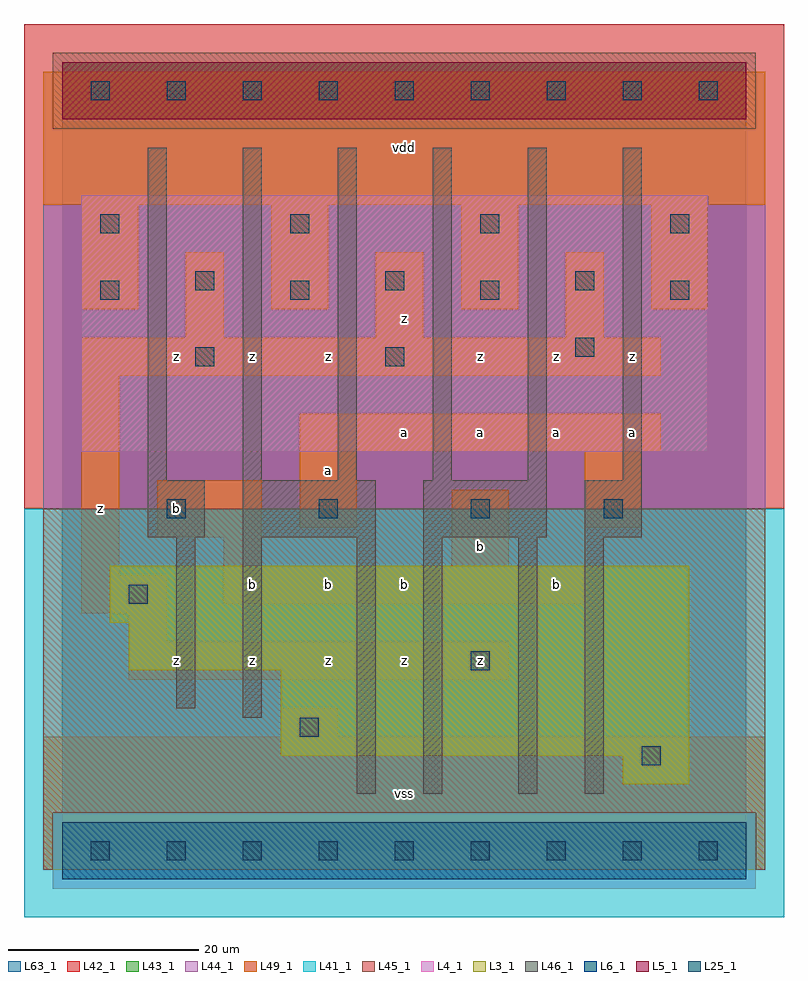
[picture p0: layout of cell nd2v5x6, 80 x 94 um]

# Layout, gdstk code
import gdstk
lib = gdstk.Library(unit=1e-6, precision=1e-09)
def R(c, l, rs):  # rectangles x0, y0, x1, y1
    for r in rs: c.add(gdstk.rectangle(r[:2], r[2:], *l))
def A(c, l, x, y, w, h, nx, ny, dx, dy):  # array of equal rectangles
    R(c, l, [(x+i*dx, y+j*dy, x+i*dx+w, y+j*dy+h) for i in range(nx) for j in range(ny)])
L3_1 = (3, 1)
L4_1 = (4, 1)
L5_1 = (5, 1)
L6_1 = (6, 1)
L25_1 = (25, 1)
L41_1 = (41, 1)
L42_1 = (42, 1)
L43_1 = (43, 1)
L44_1 = (44, 1)
L45_1 = (45, 1)
L46_1 = (46, 1)
L49_1 = (49, 1)
L63_1 = (63, 1)

nd2v5x6 = lib.new_cell('nd2v5x6')
R(nd2v5x6, L3_1, [(59,7,66,10), (23,10,66,19), (7,19,66,24), (5,24,66,30)])
R(nd2v5x6, L4_1, [(2,42,68,69)])
R(nd2v5x6, L5_1, [(0,77,72,83)])
R(nd2v5x6, L6_1, [(0,-3,72,3), (0,-3,72,3)])
A(nd2v5x6, L25_1, 3, -1, 2, 2, 9, 2, 8, 80)
A(nd2v5x6, L25_1, 11, 35, 2, 2, 3, 1, 16, 0)
A(nd2v5x6, L25_1, 4, 58, 2, 2, 4, 2, 20, 7)
A(nd2v5x6, L25_1, 14, 59, 2, 2, 3, 1, 20, 0)
R(nd2v5x6, L25_1, [(61,9,63,11), (25,12,27,14), (43,19,45,21), (7,26,9,28), (57,35,59,37), (14,51,16,53), (34,51,36,53), (54,52,56,54)])
R(nd2v5x6, L41_1, [(-4,-7,76,36)])
R(nd2v5x6, L42_1, [(-4,36,76,87)])
R(nd2v5x6, L43_1, [(0,-3,72,3), (59,7,66,10), (23,10,66,19), (7,19,66,24), (5,24,66,30), (2,42,68,69), (0,77,72,83)])
R(nd2v5x6, L44_1, [(-1,-4,73,4), (-2,36,74,76), (-2,76,-1,82), (73,76,74,82)])
R(nd2v5x6, L45_1, [(-2,-2,-1,4), (73,-2,74,4), (-2,4,74,36), (-1,76,73,84)])
A(nd2v5x6, L46_1, 9, 39, 2, 35, 6, 1, 10, 0)
R(nd2v5x6, L46_1, [(31,6,33,33), (38,6,40,33), (48,6,50,33), (55,6,57,33), (19,14,21,33), (12,15,14,33), (9,33,15,39), (19,33,33,39), (38,33,51,39), (55,33,61,39)])
A(nd2v5x6, L49_1, 2, 57, 6, 11, 4, 1, 20, 0)
R(nd2v5x6, L49_1, [(-2,-2,74,12), (23,12,29,15), (7,18,47,22), (7,22,11,25), (2,25,11,29), (17,26,55,30), (2,29,6,50), (17,30,21,33), (41,30,47,38), (10,33,21,39), (25,34,31,42), (55,34,61,42), (25,42,63,46), (2,50,63,54), (13,54,17,63), (33,54,38,63), (53,54,57,63), (-2,68,74,82)])
R(nd2v5x6, L63_1, [(0,0,72,80)])
nd2v5x6.add(gdstk.Label('z', (4,36), layer=49, texttype=1))
nd2v5x6.add(gdstk.Label('z', (12,20), layer=49, texttype=1))
nd2v5x6.add(gdstk.Label('z', (20,20), layer=49, texttype=1))
nd2v5x6.add(gdstk.Label('b', (20,28), layer=49, texttype=1))
nd2v5x6.add(gdstk.Label('b', (12,36), layer=49, texttype=1))
nd2v5x6.add(gdstk.Label('z', (20,52), layer=49, texttype=1))
nd2v5x6.add(gdstk.Label('z', (12,52), layer=49, texttype=1))
nd2v5x6.add(gdstk.Label('vss', (36,6), layer=49, texttype=1))
nd2v5x6.add(gdstk.Label('z', (28,20), layer=49, texttype=1))
nd2v5x6.add(gdstk.Label('b', (28,28), layer=49, texttype=1))
nd2v5x6.add(gdstk.Label('z', (36,20), layer=49, texttype=1))
nd2v5x6.add(gdstk.Label('b', (36,28), layer=49, texttype=1))
nd2v5x6.add(gdstk.Label('a', (28,40), layer=49, texttype=1))
nd2v5x6.add(gdstk.Label('a', (36,44), layer=49, texttype=1))
nd2v5x6.add(gdstk.Label('z', (28,52), layer=49, texttype=1))
nd2v5x6.add(gdstk.Label('z', (36,56), layer=49, texttype=1))
nd2v5x6.add(gdstk.Label('vdd', (36,74), layer=49, texttype=1))
nd2v5x6.add(gdstk.Label('z', (44,20), layer=49, texttype=1))
nd2v5x6.add(gdstk.Label('b', (52,28), layer=49, texttype=1))
nd2v5x6.add(gdstk.Label('b', (44,32), layer=49, texttype=1))
nd2v5x6.add(gdstk.Label('a', (44,44), layer=49, texttype=1))
nd2v5x6.add(gdstk.Label('a', (52,44), layer=49, texttype=1))
nd2v5x6.add(gdstk.Label('z', (52,52), layer=49, texttype=1))
nd2v5x6.add(gdstk.Label('z', (44,52), layer=49, texttype=1))
nd2v5x6.add(gdstk.Label('a', (60,44), layer=49, texttype=1))
nd2v5x6.add(gdstk.Label('z', (60,52), layer=49, texttype=1))

lib.write_gds('nd2v5x6.gds')
